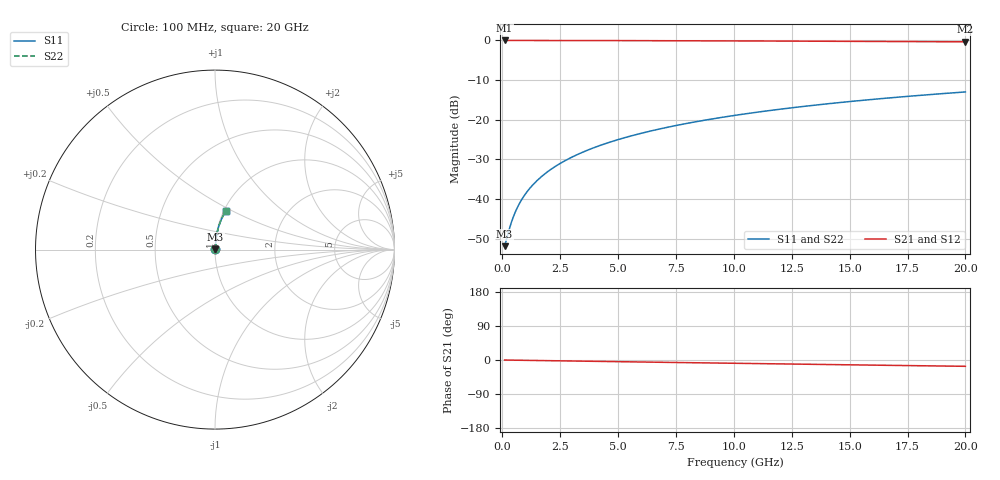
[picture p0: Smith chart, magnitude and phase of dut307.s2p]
! Touchstone file exported from HFSS 2024.1.0
!  File:  C:/UserFiles/LocalFiles/RDL_TSV_Batchsim/temp_RDL_bottom_307_1779610478.aedt
!  Generated:  04:17:33 PM May 24, 2026
!  Design:  RDL_bottom
!  Project:  temp_RDL_bottom_307_1779610478
!  Setup:  Setup1
!  Solution:  Sweep
! Variables:
!  dtsv = 10.80580581um
!  hbump = 3um
!  htsv = 71.86um
!  ldown = 169.25um
!  lrdl = 100um
!  p = 40
!  p1 = 45.05um
!  rhole = 1um
!  t = 450um
!  tdown = 2.55um
!  trdl = 3.915915916um
!  wdown = 11.5um
!  wrdl = 20um
# GHz S MA R 50.000000
! Terminal data exported
! Port[1] = RDL1_T1
! Port[2] = RDL1_T2
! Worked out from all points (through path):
!   200 points, 100 MHz to 20 GHz, reference 50 ohm
!   highest |S21| = -0.02 dB at 100 MHz (marker M1); lowest = -0.4 dB at 20 GHz (marker M2)
!   group delay of S21, straight-line fit = 2.31 ps
!   lowest |S11| = -51.9 dB at 100 MHz (marker M3), VSWR 1.01, Z = 50.2 + j0.116 ohm
!   |S11| at or under -10 dB: start of sweep to end of sweep
!   |S22| runs from -51.9 to -13.0 dB; largest |S21 - S12| = 3.1e-15
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0.1  0.002545 27.0  0.9977 -0.1  0.9977 -0.1  0.002545 27.0
! Gamma 0 0 0 0
! Port Impedance 50 0 50 0
0.3  0.004157 56.2  0.9977 -0.3  0.9977 -0.3  0.004157 56.2
0.4  0.005159 62.9  0.9976 -0.4  0.9976 -0.4  0.005159 62.9
0.5  0.006202 67.3  0.9976 -0.5  0.9976 -0.5  0.006202 67.3
0.6  0.007267 70.5  0.9976 -0.5  0.9976 -0.5  0.007267 70.5
0.7  0.008342 72.8  0.9975 -0.6  0.9975 -0.6  0.008342 72.8
0.9  0.01051 75.9  0.9974 -0.8  0.9974 -0.8  0.01051 75.9
1.2  0.01378 78.8  0.9972 -1.1  0.9972 -1.1  0.01378 78.8
1.4  0.01597 80.0  0.9971 -1.3  0.9971 -1.3  0.01597 80.0
1.7  0.01927 81.3  0.997 -1.5  0.997 -1.5  0.01927 81.3
2.2  0.02479 82.7  0.9966 -2.0  0.9966 -2.0  0.02479 82.7
2.8  0.03145 83.6  0.9962 -2.5  0.9962 -2.5  0.03145 83.6
3.5  0.03926 84.1  0.9955 -3.1  0.9955 -3.1  0.03926 84.1
4.2  0.0471 84.3  0.9947 -3.7  0.9947 -3.7  0.0471 84.3
5  0.05611 84.3  0.9937 -4.4  0.9937 -4.4  0.05611 84.3
5.9  0.06628 84.1  0.9923 -5.2  0.9923 -5.2  0.06628 84.1
6.8  0.07649 83.7  0.9909 -6.0  0.9909 -6.0  0.07649 83.7
8.3  0.09357 83.0  0.9881 -7.3  0.9881 -7.3  0.09357 83.0
10.1  0.1141 81.8  0.9845 -8.8  0.9845 -8.8  0.1141 81.8
13.4  0.1514 79.5  0.9769 -11.5  0.9769 -11.5  0.1514 79.5
16.7  0.1881 76.9  0.9683 -14.1  0.9683 -14.1  0.1881 76.9
20  0.2238 74.4  0.9589 -16.7  0.9589 -16.7  0.2238 74.4
